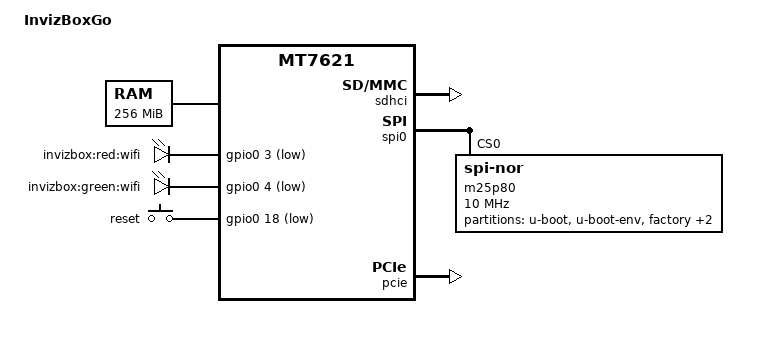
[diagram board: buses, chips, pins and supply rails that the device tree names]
/dts-v1/;

#include "mt7621.dtsi"

#include <dt-bindings/gpio/gpio.h>
#include <dt-bindings/input/input.h>

/ {
	model = "InvizBoxGo";

	memory@0 {
		device_type = "memory";
		reg = <0x0 0x10000000>;
	};

	chosen {
		bootargs = "console=ttyS0,57600";
	};

	gpio-leds {
		compatible = "gpio-leds";

		red {
			label = "invizbox:red:wifi";
			gpios = <&gpio0 3 GPIO_ACTIVE_LOW>;
		};

		green {
			label = "invizbox:green:wifi";
			gpios = <&gpio0 4 GPIO_ACTIVE_LOW>;
		};
	};

	gpio-keys-polled {
		compatible = "gpio-keys-polled";
		#address-cells = <1>;
		#size-cells = <0>;
		poll-interval = <20>;

		reset {
			label = "reset";
			gpios = <&gpio0 18 GPIO_ACTIVE_LOW>;
			linux,code = <KEY_RESTART>;
		};
	};
};

&sdhci {
	status = "okay";
	pinctrl-names = "default";
	pinctrl-0 = <&sdhci_pins>;
};

&spi0 {
	status = "okay";

	m25p80@0 {
		#address-cells = <1>;
		#size-cells = <1>;
		compatible = "jedec,spi-nor";
		reg = <0>;
		spi-max-frequency = <10000000>;
		m25p,chunked-io = <32>;

		partition@0 {
			label = "u-boot";
			reg = <0x0 0x30000>;
		};

		partition@30000 {
			label = "u-boot-env";
			reg = <0x30000 0x10000>;
		};

		factory: partition@40000 {
			label = "factory";
			reg = <0x40000 0x10000>;
		};

		partition@50000 {
			label = "firmware";
			reg = <0x50000 0x1790000>;
		};

		partition@17e0000 {
			label = "board_data";
			reg = <0x17e0000 0x20000>;
		};
	};
};

&pcie {
	status = "okay";

	pcie0 {
		mt76@0,0 {
			reg = <0x0000 0 0 0 0>;
			device_type = "pci";
			mediatek,mtd-eeprom = <&factory 0x0000>;
			ieee80211-freq-limit = <2400000 2500000>;
		};
	};
};

&ethernet {
	mtd-mac-address = <&factory 0x022>;
};

&pinctrl {
	state_default: pinctrl0 {
		gpio {
			ralink,group = "rgmii2","rgmii1", "uart3", "uart2","i2c";
			ralink,function = "gpio";
		};
	};
};
